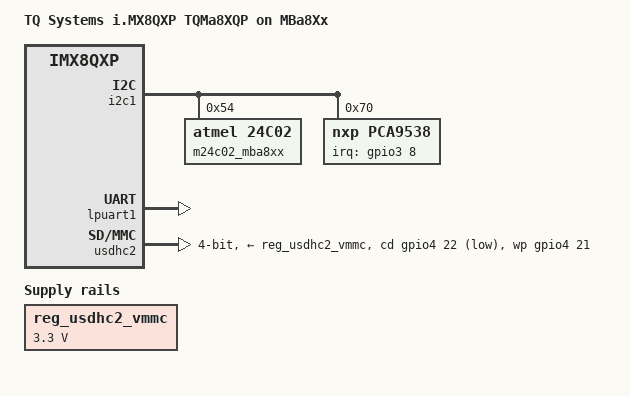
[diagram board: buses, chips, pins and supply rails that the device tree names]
// SPDX-License-Identifier: GPL-2.0+
/*
 * Copyright 2018 - 2020 TQ Systems GmbH
 */

/dts-v1/;

#include "fsl-imx8qxp-tqma8xqp.dtsi"

/ {
	model = "TQ Systems i.MX8QXP TQMa8XQP on MBa8Xx";
	compatible = "tq,tqma8xqp-mba8xx", "tq,tqma8xqp", "fsl,imx8qxp";

	aliases {
		gpio8 = &pca9538;
	};

	chosen {
		bootargs = "console=ttyLP1,115200 earlycon";
		stdout-path = &lpuart1;
	};

	reg_usdhc2_vmmc: regulator-usdhc2-vmmc {
		compatible = "regulator-fixed";
		regulator-name = "SD1_SPWR";
		regulator-min-microvolt = <3300000>;
		regulator-max-microvolt = <3300000>;
		status = "okay";
	};
};

&iomuxc {
	pinctrl_lpuart1: lpuart1grp {
		fsl,pins = <
			SC_P_UART1_RX_ADMA_UART1_RX		0x06000020
			SC_P_UART1_TX_ADMA_UART1_TX		0x06000020
		>;
	};

	pinctrl_pca9538: pca9538grp {
		fsl,pins = <
			SC_P_MIPI_CSI0_GPIO0_00_LSIO_GPIO3_IO08	0x00000020
		>;
	};

	pinctrl_usdhc2_gpio: usdhc2gpiogrp {
		fsl,pins = <
			SC_P_USDHC1_RESET_B_LSIO_GPIO4_IO19	0x00000021
			SC_P_USDHC1_WP_LSIO_GPIO4_IO21		0x00000021
			SC_P_USDHC1_CD_B_LSIO_GPIO4_IO22	0x00000021
		>;
	};

	pinctrl_usdhc2: usdhc2grp {
		fsl,pins = <
			SC_P_USDHC1_CLK_CONN_USDHC1_CLK		0x06000041
			SC_P_USDHC1_CMD_CONN_USDHC1_CMD		0x00000021
			SC_P_USDHC1_DATA0_CONN_USDHC1_DATA0	0x00000021
			SC_P_USDHC1_DATA1_CONN_USDHC1_DATA1	0x00000021
			SC_P_USDHC1_DATA2_CONN_USDHC1_DATA2	0x00000021
			SC_P_USDHC1_DATA3_CONN_USDHC1_DATA3	0x00000021
			SC_P_USDHC1_VSELECT_CONN_USDHC1_VSELECT	0x00000021
		>;
	};

	pinctrl_usdhc2_100mhz: usdhc2grp100mhz {
		fsl,pins = <
			SC_P_USDHC1_CLK_CONN_USDHC1_CLK		0x06000040
			SC_P_USDHC1_CMD_CONN_USDHC1_CMD		0x00000020
			SC_P_USDHC1_DATA0_CONN_USDHC1_DATA0	0x00000020
			SC_P_USDHC1_DATA1_CONN_USDHC1_DATA1	0x00000020
			SC_P_USDHC1_DATA2_CONN_USDHC1_DATA2	0x00000020
			SC_P_USDHC1_DATA3_CONN_USDHC1_DATA3	0x00000020
			SC_P_USDHC1_VSELECT_CONN_USDHC1_VSELECT	0x00000020
		>;
	};

	pinctrl_usdhc2_200mhz: usdhc2grp200mhz {
		fsl,pins = <
			SC_P_USDHC1_CLK_CONN_USDHC1_CLK		0x06000040
			SC_P_USDHC1_CMD_CONN_USDHC1_CMD		0x00000020
			SC_P_USDHC1_DATA0_CONN_USDHC1_DATA0	0x00000020
			SC_P_USDHC1_DATA1_CONN_USDHC1_DATA1	0x00000020
			SC_P_USDHC1_DATA2_CONN_USDHC1_DATA2	0x00000020
			SC_P_USDHC1_DATA3_CONN_USDHC1_DATA3	0x00000020
			SC_P_USDHC1_VSELECT_CONN_USDHC1_VSELECT	0x00000020
		>;
	};
};

&i2c1 {
	m24c02_mba8xx: eeprom@54 {
		compatible = "atmel,24c02";
		reg = <0x54>;
		pagesize = <16>;
		status = "okay";
	};

	pca9538: expander@70 {
		compatible = "nxp,pca9538";
		reg = <0x70>;
		pinctrl-names = "default";
		pinctrl-0 = <&pinctrl_pca9538>;
		gpio-controller;
		#gpio-cells = <2>;
		interrupt-parent = <&gpio3>;
		interrupts = <8 IRQ_TYPE_LEVEL_LOW>;
	};
};

&lpuart1 {
	pinctrl-names = "default";
	pinctrl-0 = <&pinctrl_lpuart1>;
	status = "okay";
};

&usdhc2 {
	pinctrl-names = "default", "state_100mhz", "state_200mhz";
	pinctrl-0 = <&pinctrl_usdhc2>, <&pinctrl_usdhc2_gpio>;
	pinctrl-1 = <&pinctrl_usdhc2_100mhz>, <&pinctrl_usdhc2_gpio>;
	pinctrl-2 = <&pinctrl_usdhc2_200mhz>, <&pinctrl_usdhc2_gpio>;
	bus-width = <4>;
	cd-gpios = <&gpio4 22 GPIO_ACTIVE_LOW>;
	wp-gpios = <&gpio4 21 GPIO_ACTIVE_HIGH>;
	vmmc-supply = <&reg_usdhc2_vmmc>;
	status = "okay";
};
